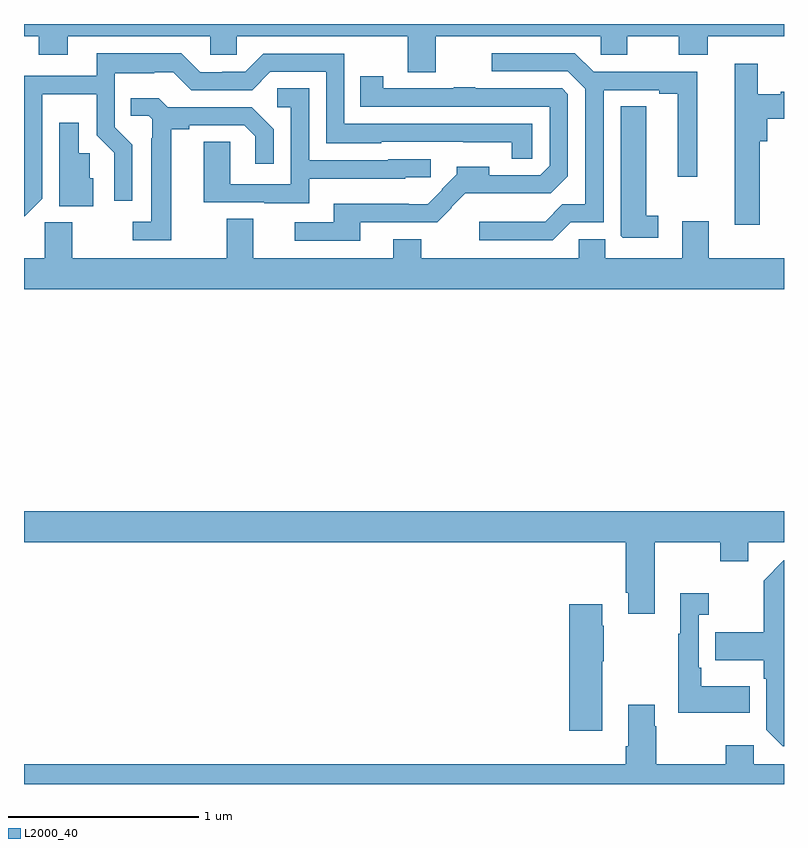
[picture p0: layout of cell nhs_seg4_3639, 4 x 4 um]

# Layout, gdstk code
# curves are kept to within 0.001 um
import gdstk
lib = gdstk.Library(unit=1e-6, precision=1e-09)
def P(c, l, *ps):  # polygons
    for p in ps: c.add(gdstk.Polygon(p, *l))
L2000_40 = (2000, 40)

nhs_seg4_3639 = lib.new_cell('nhs_seg4_3639')
P(nhs_seg4_3639, L2000_40, [(305.167,780.836),(306.036,780.836),(306.036,780.738),(306.175,780.738),(306.175,780.836),(306.446,780.836),(306.446,780.737),(306.599,780.737),(306.599,780.836),(307,780.836),(307,780.9),(303,780.9),(303,780.836),(303.077,780.836),(303.077,780.737),(303.229,780.737),(303.229,780.836),(303.981,780.836),(303.981,780.738),(304.119,780.738),(304.119,780.836),(305.02,780.836),(305.02,780.646),(305.167,780.646)],
  [(305.877,779.856),(306.051,779.856),(306.051,780.552),(306.344,780.552),(306.344,780.532),(306.44,780.532),(306.44,780.096),(306.544,780.096),(306.544,780.648),(305.998,780.648),(305.899,780.747),(305.463,780.747),(305.463,780.651),(305.862,780.651),(305.955,780.558),(305.955,779.951),(305.834,779.951),(305.743,779.86),(305.397,779.86),(305.397,779.763),(305.784,779.763)],
  [(303.096,779.979),(303.096,780.53),(303.384,780.53),(303.384,780.314),(303.476,780.222),(303.476,779.97),(303.57,779.97),(303.57,780.264),(303.477,780.357),(303.477,780.641),(303.686,780.641),(303.686,780.645),(303.786,780.645),(303.879,780.552),(304.2,780.552),(304.296,780.648),(304.59,780.648),(304.59,780.272),(304.881,780.272),(304.881,780.279),(305.568,780.278),(305.568,780.19),(305.676,780.19),(305.676,780.375),(304.686,780.375),(304.686,780.744),(304.26,780.744),(304.164,780.648),(304.044,780.648),(304.044,780.645),(303.927,780.645),(303.827,780.745),(303.383,780.745),(303.383,780.627),(303,780.627),(303,779.887),(303.003,779.887)],
  [(306.872,780.284),(306.911,780.284),(306.911,780.401),(307,780.401),(307,780.543),(306.984,780.543),(306.984,780.531),(306.862,780.531),(306.862,780.691),(306.74,780.691),(306.74,779.844),(306.872,779.844)],
  [(304.771,779.856),(305.175,779.856),(305.251,779.933),(305.249,779.935),(305.323,780.009),(305.657,780.008),(305.657,780.01),(305.773,780.01),(305.862,780.099),(305.862,780.531),(305.832,780.561),(305.375,780.561),(305.375,780.566),(305.263,780.566),(305.263,780.561),(304.89,780.561),(304.89,780.625),(304.771,780.625),(304.771,780.465),(305.766,780.465),(305.766,780.153),(305.718,780.105),(305.449,780.105),(305.449,780.148),(305.278,780.148),(305.278,780.109),(305.199,780.03),(305.202,780.027),(305.126,779.951),(305.024,779.951),(305.024,779.953),(304.631,779.953),(304.631,779.856),(304.425,779.856),(304.425,779.76),(304.771,779.76)],
  [(304.501,780.086),(305.007,780.086),(305.007,780.093),(305.142,780.093),(305.142,780.189),(304.917,780.189),(304.917,780.183),(304.5,780.183),(304.5,780.563),(304.332,780.563),(304.332,780.462),(304.404,780.462),(304.404,780.057),(304.086,780.057),(304.086,780.281),(303.947,780.281),(303.947,779.961),(304.265,779.961),(304.265,779.957),(304.501,779.957)],
  [(303.775,780.346),(303.871,780.346),(303.871,780.366),(304.16,780.366),(304.217,780.309),(304.217,780.165),(304.314,780.165),(304.314,780.346),(304.198,780.462),(303.756,780.462),(303.708,780.509),(303.562,780.509),(303.562,780.417),(303.657,780.417),(303.675,780.399),(303.675,780.299),(303.671,780.299),(303.671,779.859),(303.573,779.859),(303.573,779.763),(303.775,779.763)],
  [(306.337,779.891),(306.274,779.891),(306.274,780.467),(306.14,780.467),(306.14,779.785),(306.15,779.775),(306.337,779.775)],
  [(303.364,780.087),(303.345,780.087),(303.345,780.219),(303.289,780.219),(303.289,780.379),(303.185,780.379),(303.185,779.942),(303.364,779.942)],
  [(307,779.668),(306.604,779.668),(306.604,779.863),(306.464,779.863),(306.464,779.668),(306.058,779.668),(306.058,779.766),(305.919,779.766),(305.919,779.668),(305.091,779.668),(305.091,779.767),(304.943,779.767),(304.943,779.668),(304.207,779.668),(304.207,779.876),(304.067,779.876),(304.067,779.668),(303.255,779.668),(303.255,779.857),(303.108,779.857),(303.108,779.668),(303,779.668),(303,779.504),(307,779.504)],
  [(306.319,778.172),(306.664,778.172),(306.664,778.073),(306.811,778.073),(306.811,778.172),(307,778.172),(307,778.336),(303,778.336),(303,778.172),(306.167,778.172),(306.167,777.907),(306.179,777.907),(306.179,777.795),(306.319,777.795)],
  [(307,778.077),(306.999,778.077),(306.894,777.971),(306.894,777.699),(306.637,777.699),(306.637,777.551),(306.894,777.551),(306.894,777.455),(306.906,777.455),(306.906,777.186),(306.993,777.099),(307,777.099)],
  [(306.821,777.415),(306.565,777.415),(306.565,777.511),(306.552,777.511),(306.552,777.791),(306.604,777.791),(306.604,777.904),(306.455,777.904),(306.455,777.691),(306.444,777.691),(306.444,777.275),(306.821,777.275)],
  [(306.043,777.545),(306.051,777.545),(306.051,777.734),(306.043,777.734),(306.043,777.847),(305.87,777.847),(305.87,777.18),(306.043,777.18)],
  [(307,777.004),(306.84,777.004),(306.84,777.103),(306.694,777.103),(306.694,777.004),(306.327,777.004),(306.327,777.203),(306.319,777.203),(306.319,777.316),(306.179,777.316),(306.179,777.1),(306.167,777.1),(306.167,777.004),(303,777.004),(303,776.9),(307,776.9)])

lib.write_gds('nhs_seg4_3639.gds')
